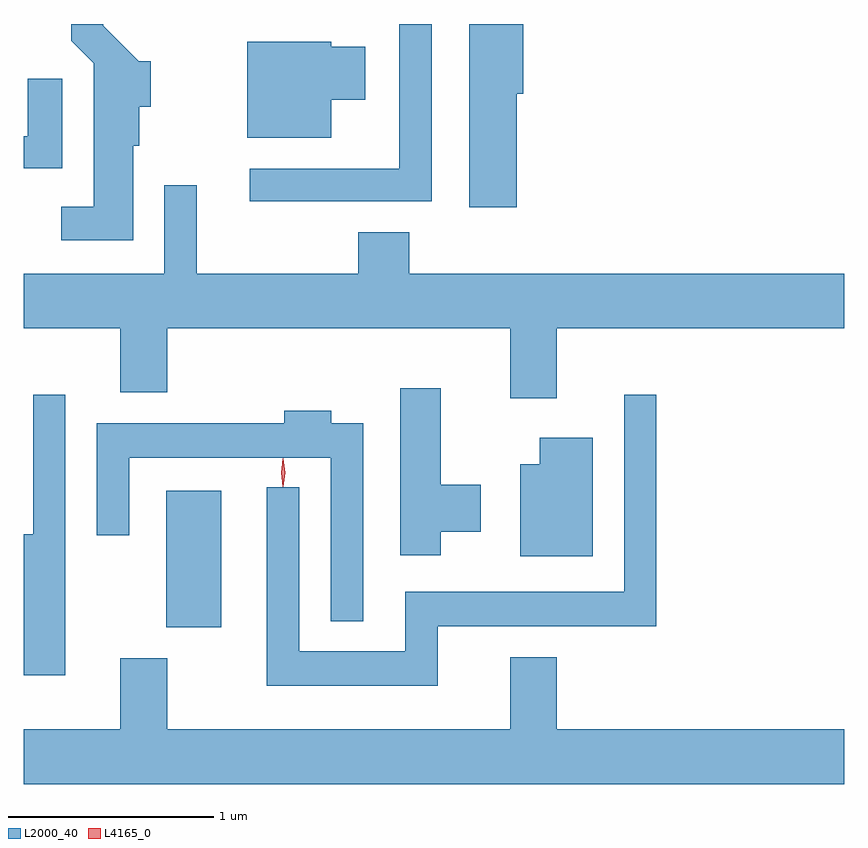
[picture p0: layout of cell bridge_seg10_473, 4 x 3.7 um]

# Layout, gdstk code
import gdstk
lib = gdstk.Library(unit=1e-6, precision=1e-09)
def R(c, l, rs):  # rectangles x0, y0, x1, y1
    for r in rs: c.add(gdstk.rectangle(r[:2], r[2:], *l))
def P(c, l, *ps):  # polygons
    for p in ps: c.add(gdstk.Polygon(p, *l))
L2000_40 = (2000, 40)
L4165_0 = (4165, 0)

bridge_seg10_473 = lib.new_cell('bridge_seg10_473')
R(bridge_seg10_473, L2000_40, [(903.466,2163.521,903.734,2164.184)])
P(bridge_seg10_473, L2000_40, [(903.304,2165.866),(903.334,2165.866),(903.334,2166.056),(903.389,2166.056),(903.389,2166.279),(903.332,2166.279),(903.159,2166.452),(903.159,2166.46),(903.001,2166.46),(903.001,2166.379),(903.111,2166.269),(903.111,2165.569),(902.953,2165.569),(902.953,2165.406),(903.304,2165.406)],
  [(904.759,2166.46),(904.601,2166.46),(904.601,2165.754),(903.873,2165.754),(903.873,2165.596),(904.759,2165.596)],
  [(905.174,2166.121),(905.204,2166.121),(905.204,2166.46),(904.941,2166.46),(904.941,2165.566),(905.174,2165.566)],
  [(904.269,2166.091),(904.434,2166.091),(904.434,2166.349),(904.269,2166.349),(904.269,2166.374),(903.861,2166.374),(903.861,2165.906),(904.269,2165.906)],
  [(902.959,2166.193),(902.791,2166.193),(902.791,2165.914),(902.77,2165.914),(902.77,2165.756),(902.959,2165.756)],
  [(905.369,2164.976),(906.77,2164.976),(906.77,2165.244),(904.649,2165.244),(904.649,2165.444),(904.401,2165.444),(904.401,2165.244),(903.614,2165.244),(903.614,2165.673),(903.456,2165.673),(903.456,2165.244),(902.77,2165.244),(902.77,2164.976),(903.241,2164.976),(903.241,2164.666),(903.469,2164.666),(903.469,2164.976),(905.141,2164.976),(905.141,2164.636),(905.369,2164.636)],
  [(904.804,2163.986),(904.999,2163.986),(904.999,2164.214),(904.804,2164.214),(904.804,2164.684),(904.606,2164.684),(904.606,2163.871),(904.804,2163.871)],
  [(904.789,2163.526),(905.854,2163.526),(905.854,2164.653),(905.696,2164.653),(905.696,2163.694),(904.631,2163.694),(904.631,2163.404),(904.114,2163.404),(904.114,2164.203),(903.956,2164.203),(903.956,2163.236),(904.789,2163.236)],
  [(902.974,2164.653),(902.816,2164.653),(902.816,2163.974),(902.77,2163.974),(902.77,2163.286),(902.974,2163.286)],
  [(904.424,2164.514),(904.269,2164.514),(904.269,2164.574),(904.041,2164.574),(904.041,2164.514),(903.126,2164.514),(903.126,2163.968),(903.284,2163.968),(903.284,2164.346),(904.266,2164.346),(904.266,2163.548),(904.424,2163.548)],
  [(905.544,2164.444),(905.286,2164.444),(905.286,2164.314),(905.191,2164.314),(905.191,2163.866),(905.544,2163.866)],
  [(906.77,2163.024),(905.369,2163.024),(905.369,2163.374),(905.141,2163.374),(905.141,2163.024),(903.469,2163.024),(903.469,2163.369),(903.241,2163.369),(903.241,2163.024),(902.77,2163.024),(902.77,2162.756),(906.77,2162.756)])
P(bridge_seg10_473, L4165_0, [(904.034,2164.204),(904.025,2164.274),(904.034,2164.342),(904.035,2164.343),(904.035,2164.342),(904.045,2164.274),(904.035,2164.204),(904.035,2164.204)],
  [(904.034,2164.207),(904.025,2164.274),(904.034,2164.34),(904.035,2164.34),(904.036,2164.34),(904.045,2164.274),(904.036,2164.207),(904.035,2164.207)])

lib.write_gds('bridge_seg10_473.gds')
